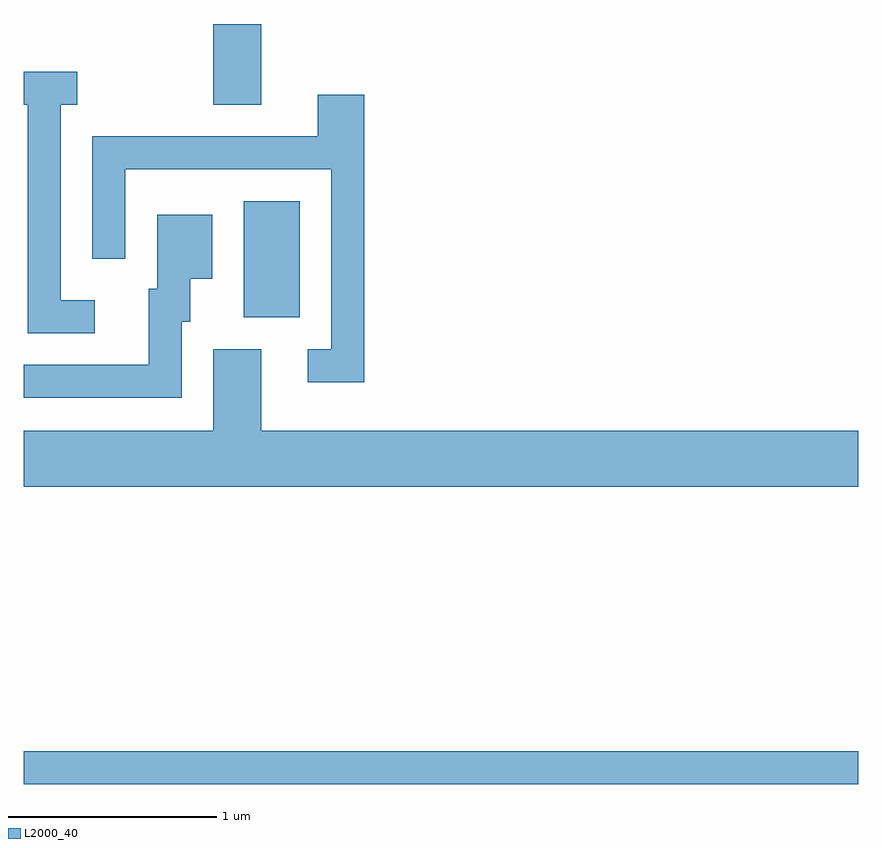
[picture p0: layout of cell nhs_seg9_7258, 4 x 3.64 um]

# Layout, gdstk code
import gdstk
lib = gdstk.Library(unit=1e-6, precision=1e-09)
def R(c, l, rs):  # rectangles x0, y0, x1, y1
    for r in rs: c.add(gdstk.rectangle(r[:2], r[2:], *l))
def P(c, l, *ps):  # polygons
    for p in ps: c.add(gdstk.Polygon(p, *l))
L2000_40 = (2000, 40)

nhs_seg9_7258 = lib.new_cell('nhs_seg9_7258')
R(nhs_seg9_7258, L2000_40, [(399.611,2034.791,403.611,2034.949), (400.666,2037.026,400.934,2037.584), (400.521,2038.046,400.749,2038.432)])
P(nhs_seg9_7258, L2000_40, [(399.953,2037.109),(399.789,2037.109),(399.789,2038.046),(399.868,2038.046),(399.868,2038.204),(399.611,2038.204),(399.611,2038.046),(399.631,2038.046),(399.631,2036.951),(399.953,2036.951)],
  [(401.244,2038.094),(401.021,2038.094),(401.021,2037.894),(399.941,2037.894),(399.941,2037.308),(400.099,2037.308),(400.099,2037.736),(401.086,2037.736),(401.086,2036.874),(400.973,2036.874),(400.973,2036.716),(401.244,2036.716)],
  [(400.369,2037.006),(400.409,2037.006),(400.409,2037.211),(400.514,2037.211),(400.514,2037.519),(400.251,2037.519),(400.251,2037.164),(400.211,2037.164),(400.211,2036.799),(399.611,2036.799),(399.611,2036.641),(400.369,2036.641)],
  [(403.611,2036.484),(400.749,2036.484),(400.749,2036.874),(400.521,2036.874),(400.521,2036.484),(399.611,2036.484),(399.611,2036.216),(403.611,2036.216)])

lib.write_gds('nhs_seg9_7258.gds')
